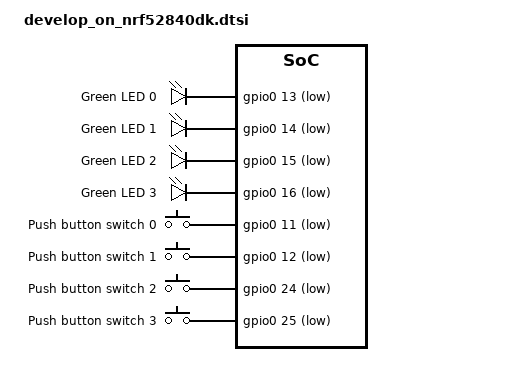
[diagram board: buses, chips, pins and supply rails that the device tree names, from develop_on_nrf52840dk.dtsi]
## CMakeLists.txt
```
#
# Copyright (c) 2020 Nordic Semiconductor ASA
#
# SPDX-License-Identifier: LicenseRef-Nordic-5-Clause
#

cmake_minimum_required(VERSION 3.20.0)

set(BOARD_ROOT ${CMAKE_CURRENT_SOURCE_DIR})

find_package(Zephyr REQUIRED HINTS $ENV{ZEPHYR_BASE})

project("Zigbee light bulb with Scenes")

# NORDIC SDK APP START
target_sources(app PRIVATE
  src/main.c
)

target_include_directories(app PRIVATE include)
# NORDIC SDK APP END
```

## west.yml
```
manifest:
  version: "0.12"
  remotes:
      # nRF Connect SDK base URL.
    - name: ncs
      url-base: https://github.com/nrfconnect
  # The list of external projects for the nRF Connect SDK.
  #
  projects:
    - name: nrf
      remote: ncs
      repo-path: sdk-nrf
      revision: v2.2.0
      import:
        name-blocklist:
          - loramac-node
  self:
    path: application
```

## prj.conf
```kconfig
#
# Copyright (c) 2020 Nordic Semiconductor ASA
#
# SPDX-License-Identifier: LicenseRef-Nordic-5-Clause
#

CONFIG_LOG=y

CONFIG_UART_INTERRUPT_DRIVEN=y
CONFIG_SERIAL=y
CONFIG_GPIO=y
CONFIG_PWM=y
CONFIG_ADC=y

# Make sure printk is not printing to the UART console
CONFIG_CONSOLE=y
CONFIG_UART_CONSOLE=y

CONFIG_HEAP_MEM_POOL_SIZE=2048
CONFIG_MAIN_THREAD_PRIORITY=7

CONFIG_ZIGBEE=y
CONFIG_ZIGBEE_APP_UTILS=y
CONFIG_ZIGBEE_ROLE_ROUTER=y

# Enable DK LED and Buttons library
CONFIG_DK_LIBRARY=y

# This example requires more workqueue stack
CONFIG_SYSTEM_WORKQUEUE_STACK_SIZE=2048

# Enable nRF ECB driver
CONFIG_CRYPTO=y
CONFIG_CRYPTO_NRF_ECB=y
CONFIG_CRYPTO_INIT_PRIORITY=80

# Networking
CONFIG_NET_IPV6=n
CONFIG_NET_IP_ADDR_CHECK=n
CONFIG_NET_UDP=n

# Scene extension
CONFIG_ZIGBEE_SCENES=y

CONFIG_ZIGBEE_CHANNEL_SELECTION_MODE_MULTI=y
```

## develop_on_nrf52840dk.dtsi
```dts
&pinctrl {
	uart0_default: uart0_default {
		group1 {
			psels = <NRF_PSEL(UART_TX, 0, 6)>,
				<NRF_PSEL(UART_RTS, 0, 5)>;
		};
		group2 {
			psels = <NRF_PSEL(UART_RX, 0, 8)>,
				<NRF_PSEL(UART_CTS, 0, 7)>;
			bias-pull-up;
		};
	};
	uart0_sleep: uart0_sleep {
		group1 {
			psels = <NRF_PSEL(UART_TX, 0, 6)>,
				<NRF_PSEL(UART_RX, 0, 8)>,
				<NRF_PSEL(UART_RTS, 0, 5)>,
				<NRF_PSEL(UART_CTS, 0, 7)>;
			low-power-enable;
		};
	};
};
&pwm0 {
	status = "disabled";
};

/ {
	leds {
		led0: led_0 {
			gpios = <&gpio0 13 GPIO_ACTIVE_LOW>;
			label = "Green LED 0";
		};
		led1: led_1 {
			gpios = <&gpio0 14 GPIO_ACTIVE_LOW>;
			label = "Green LED 1";
		};
		led2: led_2 {
			gpios = <&gpio0 15 GPIO_ACTIVE_LOW>;
			label = "Green LED 2";
		};
		led3: led_3 {
			gpios = <&gpio0 16 GPIO_ACTIVE_LOW>;
			label = "Green LED 3";
		};
	};
	buttons {
		button0: button_0 {
			gpios = <&gpio0 11 (GPIO_PULL_UP | GPIO_ACTIVE_LOW)>;
			label = "Push button switch 0";
		};
		button1: button_1 {
			gpios = <&gpio0 12 (GPIO_PULL_UP | GPIO_ACTIVE_LOW)>;
			label = "Push button switch 1";
		};
		button2: button_2 {
			gpios = <&gpio0 24 (GPIO_PULL_UP | GPIO_ACTIVE_LOW)>;
			label = "Push button switch 2";
		};
		button3: button_3 {
			gpios = <&gpio0 25 (GPIO_PULL_UP | GPIO_ACTIVE_LOW)>;
			label = "Push button switch 3";
		};
	};
};
```

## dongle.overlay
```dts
&spi1 {
	status = "disabled";
};
/ {
    leds {
        btn_out: btn_out {
			gpios = <&gpio1 13 GPIO_ACTIVE_LOW>;
			label = "Override physical lamp button";
		};
    };
    zephyr,user {
        io-channels = <&adc 0>; /* led monitor, about 0V when off, up to 2.54V, about 1.2V when on */
        //btn-output = <&gpio1 13 (GPIO_ACTIVE_LOW)>; /*  */
    };
};

&adc {
	#address-cells = <1>;
	#size-cells = <0>;

	channel@0 {
		reg = <0>;
		zephyr,gain = "ADC_GAIN_1_6";
		zephyr,reference = "ADC_REF_INTERNAL";
		zephyr,vref-mv = <600>;
		zephyr,acquisition-time = <ADC_ACQ_TIME_DEFAULT>;
		zephyr,input-positive = <NRF_SAADC_AIN5>; /* P0.29 */
		zephyr,resolution = <12>;
	};
};

// #include "develop_on_nrf52840dk.dtsi"
```

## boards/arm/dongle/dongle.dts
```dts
/*
 * Copyright (c) 2018 Nordic Semiconductor ASA
 * Copyright (c) 2017 Linaro Limited
 *
 * SPDX-License-Identifier: Apache-2.0
 */

/dts-v1/;
#include <nordic/nrf52840_qiaa.dtsi>
#include "dongle-pinctrl.dtsi"

/ {
	model = "Nordic nRF52840 Dongle NRF52840 (customized)";
	compatible = "nordic,dongle";

	chosen {
		zephyr,console = &uart0;
		zephyr,shell-uart = &uart0;
		zephyr,uart-mcumgr = &uart0;
		zephyr,bt-mon-uart = &uart0;
		zephyr,bt-c2h-uart = &uart0;
		zephyr,sram = &sram0;
		zephyr,flash = &flash0;
		zephyr,code-partition = &slot0_partition;
		zephyr,ieee802154 = &ieee802154;
	};

	leds {
		compatible = "gpio-leds";
		led0_green: led_0 {
			gpios = <&gpio0 6 GPIO_ACTIVE_LOW>;
			label = "Green LED 0";
		};
		led1_red: led_1 {
			gpios = <&gpio0 8 GPIO_ACTIVE_LOW>;
			label = "Red LED 1";
		};
		led1_green: led_2 {
			gpios = <&gpio1 9 GPIO_ACTIVE_LOW>;
			label = "Green LED 1";
		};
		led1_blue: led_3 {
			gpios = <&gpio0 12 GPIO_ACTIVE_LOW>;
			label = "Blue LED 1";
		};
	};

	buttons {
		compatible = "gpio-keys";
		button0: button_0 {
			gpios = <&gpio1 6 (GPIO_PULL_UP | GPIO_ACTIVE_LOW)>;
			label = "Push button switch 0";
		};
	};

	pwmleds {
		compatible = "pwm-leds";
		red_pwm_led: pwm_led_0 {
			pwms = <&pwm0 0 PWM_MSEC(20) PWM_POLARITY_INVERTED>;
		};
		green_pwm_led: pwm_led_1 {
			pwms = <&pwm0 1 PWM_MSEC(20) PWM_POLARITY_INVERTED>;
		};
		blue_pwm_led: pwm_led_2 {
			pwms = <&pwm0 2 PWM_MSEC(20) PWM_POLARITY_INVERTED>;
		};
	};

	/* These aliases are provided for compatibility with samples */
	aliases {
		sw0 = &button0;
		led0 = &led0_green;
		led1 = &led1_red;
		led2 = &led1_green;
		led3 = &led1_blue;
		led0-green = &led0_green;
		led1-red   = &led1_red;
		led1-green = &led1_green;
		led1-blue  = &led1_blue;
		pwm-led0 = &red_pwm_led;
		pwm-led1 = &green_pwm_led;
		pwm-led2 = &blue_pwm_led;
		red-pwm-led = &red_pwm_led;
		green-pwm-led = &green_pwm_led;
		blue-pwm-led = &blue_pwm_led;
		mcuboot-button0 = &button0;
		mcuboot-led0 = &led0_green;
		watchdog0 = &wdt0;
	};
};

&adc {
	status = "okay";
};

&gpiote {
	status = "okay";
};

&gpio0 {
	status = "okay";
};

&gpio1 {
	status = "okay";
};

&uart0 {
	compatible = "nordic,nrf-uarte";
	status = "okay";
	current-speed = <115200>;
	pinctrl-0 = <&uart0_default>;
	pinctrl-1 = <&uart0_sleep>;
	pinctrl-names = "default", "sleep";
};

&i2c0 {
	compatible = "nordic,nrf-twi";
	status = "okay";
	pinctrl-0 = <&i2c0_default>;
	pinctrl-1 = <&i2c0_sleep>;
	pinctrl-names = "default", "sleep";
};

&i2c1 {
	compatible = "nordic,nrf-twi";
	/* Cannot be used together with spi1. */
	/* status = "okay"; */
	pinctrl-0 = <&i2c1_default>;
	pinctrl-1 = <&i2c1_sleep>;
	pinctrl-names = "default", "sleep";
};

&pwm0 {
	status = "okay";
	pinctrl-0 = <&pwm0_default>;
	pinctrl-1 = <&pwm0_sleep>;
	pinctrl-names = "default", "sleep";
};

/*
 * By default, not adding all available SPI instances (spi2, spi3) due to
 * limited GPIOs available on dongle board.
 */
&spi0 {
	compatible = "nordic,nrf-spi";
	/* Cannot be used together with i2c0. */
	/* status = "okay"; */
	pinctrl-0 = <&spi0_default>;
	pinctrl-1 = <&spi0_sleep>;
	pinctrl-names = "default", "sleep";
};

&spi1 {
	compatible = "nordic,nrf-spi";
	status = "okay";
	pinctrl-0 = <&spi1_default>;
	pinctrl-1 = <&spi1_sleep>;
	pinctrl-names = "default", "sleep";
};

&ieee802154 {
	status = "okay";
};

/* Include flash partition table.
 * Two partition tables are available:
 * fstab-stock		-compatible with Nordic nRF5 bootloader, default
 * fstab-debugger	-to use an external debugger, w/o the nRF5 bootloader
 */
 &flash0 {

	partitions {
		compatible = "fixed-partitions";
		#address-cells = <1>;
		#size-cells = <1>;

		boot_partition: partition@0 {
			label = "mcuboot";
			reg = <0x00000000 0x0000C000>;
		};
		slot0_partition: partition@c000 {
			label = "image-0";
			reg = <0x0000C000 0x00067000>;
		};
		slot1_partition: partition@73000 {
			label = "image-1";
			reg = <0x00073000 0x00067000>;
		};
		scratch_partition: partition@da000 {
			label = "image-scratch";
			reg = <0x000da000 0x0001e000>;
		};

		/*
		 * The flash starting at 0x000f8000 and ending at
		 * 0x000fffff is reserved for use by the application.
		 */

		/*
		 * Storage partition will be used by FCB/LittleFS/NVS
		 * if enabled.
		 */
		storage_partition: partition@f8000 {
			label = "storage";
			reg = <0x000f8000 0x00008000>;
		};
	};
};

zephyr_udc0: &usbd {
	compatible = "nordic,nrf-usbd";
	status = "okay";
};
```

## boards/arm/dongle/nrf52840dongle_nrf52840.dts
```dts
/*
 * Copyright (c) 2018 Nordic Semiconductor ASA
 * Copyright (c) 2017 Linaro Limited
 *
 * SPDX-License-Identifier: Apache-2.0
 */

/dts-v1/;
#include <nordic/nrf52840_qiaa.dtsi>
#include "nrf52840dongle_nrf52840-pinctrl.dtsi"

/ {
	model = "Nordic nRF52840 Dongle NRF52840";
	compatible = "nordic,nrf52840-dongle-nrf52840";

	chosen {
		zephyr,console = &uart0;
		zephyr,shell-uart = &uart0;
		zephyr,uart-mcumgr = &uart0;
		zephyr,bt-mon-uart = &uart0;
		zephyr,bt-c2h-uart = &uart0;
		zephyr,sram = &sram0;
		zephyr,flash = &flash0;
		zephyr,code-partition = &slot0_partition;
		zephyr,ieee802154 = &ieee802154;
	};

	leds {
		compatible = "gpio-leds";
		led0_green: led_0 {
			gpios = <&gpio0 6 GPIO_ACTIVE_LOW>;
			label = "Green LED 0";
		};
		led1_red: led_1 {
			gpios = <&gpio0 8 GPIO_ACTIVE_LOW>;
			label = "Red LED 1";
		};
		led1_green: led_2 {
			gpios = <&gpio1 9 GPIO_ACTIVE_LOW>;
			label = "Green LED 1";
		};
		led1_blue: led_3 {
			gpios = <&gpio0 12 GPIO_ACTIVE_LOW>;
			label = "Blue LED 1";
		};
	};

	buttons {
		compatible = "gpio-keys";
		button0: button_0 {
			gpios = <&gpio1 6 (GPIO_PULL_UP | GPIO_ACTIVE_LOW)>;
			label = "Push button switch 0";
		};
	};

	/* These aliases are provided for compatibility with samples */
	aliases {
		sw0 = &button0;
		led0 = &led0_green;
		led1 = &led1_red;
		led2 = &led1_green;
		led3 = &led1_blue;
		led0-green = &led0_green;
		led1-red   = &led1_red;
		led1-green = &led1_green;
		led1-blue  = &led1_blue;
		pwm-led0 = &red_pwm_led;
		pwm-led1 = &green_pwm_led;
		pwm-led2 = &blue_pwm_led;
		red-pwm-led = &red_pwm_led;
		green-pwm-led = &green_pwm_led;
		blue-pwm-led = &blue_pwm_led;
		mcuboot-button0 = &button0;
		mcuboot-led0 = &led0_green;
		watchdog0 = &wdt0;
	};
};

&adc {
	status = "okay";
};

&gpiote {
	status = "okay";
};

&gpio0 {
	status = "okay";
};

&gpio1 {
	status = "okay";
};

&uart0 {
	compatible = "nordic,nrf-uarte";
	status = "okay";
	current-speed = <115200>;
	pinctrl-0 = <&uart0_default>;
	pinctrl-1 = <&uart0_sleep>;
	pinctrl-names = "default", "sleep";
};

&ieee802154 {
	status = "okay";
};

/* Include flash partition table.
 * Two partition tables are available:
 * fstab-stock		-compatible with Nordic nRF5 bootloader, default
 * fstab-debugger	-to use an external debugger, w/o the nRF5 bootloader
 */
 &flash0 {

	partitions {
		compatible = "fixed-partitions";
		#address-cells = <1>;
		#size-cells = <1>;

		boot_partition: partition@0 {
			label = "mcuboot";
			reg = <0x00000000 0x0000C000>;
		};
		slot0_partition: partition@c000 {
			label = "image-0";
			reg = <0x0000C000 0x00067000>;
		};
		slot1_partition: partition@73000 {
			label = "image-1";
			reg = <0x00073000 0x00067000>;
		};
		scratch_partition: partition@da000 {
			label = "image-scratch";
			reg = <0x000da000 0x0001e000>;
		};

		/*
		 * The flash starting at 0x000f8000 and ending at
		 * 0x000fffff is reserved for use by the application.
		 */

		/*
		 * Storage partition will be used by FCB/LittleFS/NVS
		 * if enabled.
		 */
		storage_partition: partition@f8000 {
			label = "storage";
			reg = <0x000f8000 0x00008000>;
		};
	};
};

zephyr_udc0: &usbd {
	compatible = "nordic,nrf-usbd";
	status = "okay";
};
```

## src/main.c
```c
/*
 * Copyright (c) 2020 Nordic Semiconductor ASA
 *
 * SPDX-License-Identifier: LicenseRef-Nordic-5-Clause
 */

/** @file
 *
 * @brief Simple Zigbee light bulb implementation.
 */

#include <zephyr/types.h>
#include <zephyr/kernel.h>
#include <zephyr/device.h>
#include <soc.h>
#include <zephyr/logging/log.h>
#include <dk_buttons_and_leds.h>
#include <zephyr/settings/settings.h>

#include <zboss_api.h>
#include <zboss_api_addons.h>
#include <zb_mem_config_med.h>
#include <zigbee/zigbee_app_utils.h>
#include <zigbee/zigbee_error_handler.h>
#include <zigbee/zigbee_zcl_scenes.h>
#include <zb_nrf_platform.h>
#include "zb_dimmable_light.h"

#include "zephyr/drivers/adc.h"
#include "zephyr/drivers/gpio.h"
#include <zephyr/drivers/sensor.h>

LOG_MODULE_REGISTER(app, LOG_LEVEL_INF);

static const struct adc_dt_spec led_monitor_dt = ADC_DT_SPEC_GET(DT_PATH(zephyr_user));
static const struct gpio_dt_spec btn_output_dt = GPIO_DT_SPEC_GET(DT_NODELABEL(btn_out), gpios);
static const struct device *temp_dev = DEVICE_DT_GET(DT_NODELABEL(temp));

uint32_t adc_val;
struct adc_sequence adc_seq = {
	.buffer = &adc_val,
	.buffer_size = sizeof(adc_val),
};

bool check_lamp_status(bool *status) {
	int err;

	for (size_t i = 0; i < 10; ++i) {
		err = adc_read(led_monitor_dt.dev, &adc_seq);

		if (err) {
			LOG_ERR("adc_read failed, err: %d", err);
			k_sleep(K_MSEC(100));
			continue;
		}
		adc_raw_to_millivolts_dt(&led_monitor_dt, &adc_val);
		LOG_INF("read out value: %d mV", adc_val);
		if (adc_val > 10000) {
			continue;
		}
		*status = adc_val < 200;
		return true;
	}
	return false;
}

void trigger_lamp(void) {
	gpio_pin_set_dt(&btn_output_dt, 1);
	k_sleep(K_MSEC(300));
	gpio_pin_set_dt(&btn_output_dt, 0);
}

#define RUN_STATUS_LED                  DK_LED1
#define RUN_LED_BLINK_INTERVAL          1000

/* Device endpoint, used to receive light controlling commands. */
#define DIMMABLE_LIGHT_ENDPOINT         10

/* Version of the application software (1 byte). */
#define BULB_INIT_BASIC_APP_VERSION     01

/* Version of the implementation of the Zigbee stack (1 byte). */
#define BULB_INIT_BASIC_STACK_VERSION   10

/* Version of the hardware of the device (1 byte). */
#define BULB_INIT_BASIC_HW_VERSION      11

/* Manufacturer name (32 bytes). */
#define BULB_INIT_BASIC_MANUF_NAME      "Nordic"

/* Model number assigned by manufacturer (32-bytes long string). */
#define BULB_INIT_BASIC_MODEL_ID        "RIGGAD"

/* First 8 bytes specify the date of manufacturer of the device
 * in ISO 8601 format (YYYYMMDD). The rest (8 bytes) are manufacturer specific.
 */
#define BULB_INIT_BASIC_DATE_CODE       "20230305"

/* Type of power sources available for the device.
 * For possible values see section 3.2.2.2.8 of ZCL specification.
 */
#define BULB_INIT_BASIC_POWER_SOURCE    ZB_ZCL_BASIC_POWER_SOURCE_DC_SOURCE

/* Describes the physical location of the device (16 bytes).
 * May be modified during commissioning process.
 */
#define BULB_INIT_BASIC_LOCATION_DESC   "Office desk"

/* Describes the type of physical environment.
 * For possible values see section 3.2.2.2.10 of ZCL specification.
 */
#define BULB_INIT_BASIC_PH_ENV          ZB_ZCL_BASIC_ENV_UNSPECIFIED

/* LED indicating that light switch successfully joind Zigbee network. */
#define ZIGBEE_NETWORK_STATE_LED        DK_LED3

/* Button used to enter the Bulb into the Identify mode. */
#define IDENTIFY_MODE_BUTTON            DK_BTN1_MSK

#ifndef ZB_ROUTER_ROLE
#error Define ZB_ROUTER_ROLE to compile router source code.
#endif

/* Button to start Factory Reset */
#define FACTORY_RESET_BUTTON IDENTIFY_MODE_BUTTON

/* Zigbee Cluster Library 4.4.2.2.1.1: MeasuredValue = 100x temperature in degrees Celsius */
#define ZCL_TEMPERATURE_MEASUREMENT_MEASURED_VALUE_MULTIPLIER 100

/* Main application customizable context.
 * Stores all settings and static values.
 */
typedef struct {
	zb_zcl_basic_attrs_ext_t basic_attr;
	zb_zcl_identify_attrs_t identify_attr;
	zb_zcl_scenes_attrs_t scenes_attr;
	zb_zcl_groups_attrs_t groups_attr;
	zb_zcl_on_off_attrs_t on_off_attr;
	zb_zcl_level_control_attrs_t level_control_attr;
	zb_zcl_temp_measurement_attrs_t temp_attrs;
} bulb_device_ctx_t;

/* Zigbee device application context storage. */
static bulb_device_ctx_t dev_ctx;

ZB_ZCL_DECLARE_IDENTIFY_ATTRIB_LIST(
	identify_attr_list,
	&dev_ctx.identify_attr.identify_time);

ZB_ZCL_DECLARE_GROUPS_ATTRIB_LIST(
	groups_attr_list,
	&dev_ctx.groups_attr.name_support);

ZB_ZCL_DECLARE_SCENES_ATTRIB_LIST(
	scenes_attr_list,
	&dev_ctx.scenes_attr.scene_count,
	&dev_ctx.scenes_attr.current_scene,
	&dev_ctx.scenes_attr.current_group,
	&dev_ctx.scenes_attr.scene_valid,
	&dev_ctx.scenes_attr.name_support);

ZB_ZCL_DECLARE_BASIC_ATTRIB_LIST_EXT(
	basic_attr_list,
	&dev_ctx.basic_attr.zcl_version,
	&dev_ctx.basic_attr.app_version,
	&dev_ctx.basic_attr.stack_version,
	&dev_ctx.basic_attr.hw_version,
	dev_ctx.basic_attr.mf_name,
	dev_ctx.basic_attr.model_id,
	dev_ctx.basic_attr.date_code,
	&dev_ctx.basic_attr.power_source,
	dev_ctx.basic_attr.location_id,
	&dev_ctx.basic_attr.ph_env,
	dev_ctx.basic_attr.sw_ver);

/* On/Off cluster attributes additions data */
ZB_ZCL_DECLARE_ON_OFF_ATTRIB_LIST(
	on_off_attr_list,
	&dev_ctx.on_off_attr.on_off);

ZB_ZCL_DECLARE_LEVEL_CONTROL_ATTRIB_LIST(
	level_control_attr_list,
	&dev_ctx.level_control_attr.current_level,
	&dev_ctx.level_control_attr.remaining_time);

ZB_ZCL_DECLARE_TEMP_MEASUREMENT_ATTRIB_LIST(
	temperature_measurement_attr_list,
	&dev_ctx.temp_attrs.measure_value,
	&dev_ctx.temp_attrs.min_measure_value,
	&dev_ctx.temp_attrs.max_measure_value,
	&dev_ctx.temp_attrs.tolerance);

ZB_DECLARE_DIMMABLE_LIGHT_CLUSTER_LIST(
	dimmable_light_clusters,
	basic_attr_list,
	identify_attr_list,
	temperature_measurement_attr_list,
	groups_attr_list,
	scenes_attr_list,
	on_off_attr_list,
	level_control_attr_list);


ZB_DECLARE_DIMMABLE_LIGHT_EP(
	dimmable_light_ep,
	DIMMABLE_LIGHT_ENDPOINT,
	dimmable_light_clusters);

ZBOSS_DECLARE_DEVICE_CTX_1_EP(
	dimmable_light_ctx,
	dimmable_light_ep);

/**@brief Starts identifying the device.
 *
 * @param  bufid  Unused parameter, required by ZBOSS scheduler API.
 */
static void start_identifying(zb_bufid_t bufid)
{
	ZVUNUSED(bufid);

	if (ZB_JOINED()) {
		/* Check if endpoint is in identifying mode,
		 * if not, put desired endpoint in identifying mode.
		 */
		if (dev_ctx.identify_attr.identify_time ==
		    ZB_ZCL_IDENTIFY_IDENTIFY_TIME_DEFAULT_VALUE) {

			zb_ret_t zb_err_code = zb_bdb_finding_binding_target(
				DIMMABLE_LIGHT_ENDPOINT);

			if (zb_err_code == RET_OK) {
				LOG_INF("Enter identify mode");
			} else if (zb_err_code == RET_INVALID_STATE) {
				LOG_WRN("RET_INVALID_STATE - Cannot enter identify mode");
			} else {
				ZB_ERROR_CHECK(zb_err_code);
			}
		} else {
			LOG_INF("Cancel identify mode");
			zb_bdb_finding_binding_target_cancel();
		}
	} else {
		LOG_WRN("Device not in a network - cannot enter identify mode");
	}
}

/**@brief Callback for button events.
 *
 * @param[in]   button_state  Bitmask containing the state of the buttons.
 * @param[in]   has_changed   Bitmask containing buttons that have changed their state.
 */
static void button_changed(uint32_t button_state, uint32_t has_changed)
{
	if (IDENTIFY_MODE_BUTTON & has_changed) {
		if (IDENTIFY_MODE_BUTTON & button_state) {
			/* Button changed its state to pressed */
		} else {
			/* Button changed its state to released */
			if (was_factory_reset_done()) {
				/* The long press was for Factory Reset */
				LOG_DBG("After Factory Reset - ignore button release");
			} else   {
				/* Button released before Factory Reset */

				/* Start identification mode */
				ZB_SCHEDULE_APP_CALLBACK(start_identifying, 0);
			}
		}
	}

	check_factory_reset_button(button_state, has_changed);
}

/**@brief Function for initializing additional PWM leds. */
static void pwm_led_init(void)
{
}

/**@brief Function for initializing LEDs and Buttons. */
static void configure_gpio(void)
{
	int err;

	err = dk_buttons_init(button_changed);
	if (err) {
		LOG_ERR("Cannot init buttons (err: %d)", err);
	}

	err = dk_leds_init();
	if (err) {
		LOG_ERR("Cannot init LEDs (err: %d)", err);
	}

	pwm_led_init();
}

/**@brief Sets brightness of bulb luminous executive element
 *
 * @param[in] brightness_level Brightness level, allowed values 0 ... 255,
 *                             0 - turn off, 255 - full brightness.
 */
static void light_bulb_set_brightness(zb_uint8_t brightness_level)
{
	/* do nothing */
}

/**@brief Function for setting the light bulb brightness.
 *
 * @param[in] new_level   Light bulb brightness value.
 */
static void level_control_set_value(zb_uint16_t new_level)
{
	LOG_INF("Set level value: %i", new_level);

	ZB_ZCL_SET_ATTRIBUTE(
		DIMMABLE_LIGHT_ENDPOINT,
		ZB_ZCL_CLUSTER_ID_LEVEL_CONTROL,
		ZB_ZCL_CLUSTER_SERVER_ROLE,
		ZB_ZCL_ATTR_LEVEL_CONTROL_CURRENT_LEVEL_ID,
		(zb_uint8_t *)&new_level,
		ZB_FALSE);

	light_bulb_set_brightness(new_level);
}

/**@brief Function for turning ON/OFF the light bulb.
 *
 * @param[in]   on   Boolean light bulb state.
 */
static void on_off_set_value(zb_bool_t on)
{
	LOG_INF("Set ON/OFF value: %i", on);

	ZB_ZCL_SET_ATTRIBUTE(
		DIMMABLE_LIGHT_ENDPOINT,
		ZB_ZCL_CLUSTER_ID_ON_OFF,
		ZB_ZCL_CLUSTER_SERVER_ROLE,
		ZB_ZCL_ATTR_ON_OFF_ON_OFF_ID,
		(zb_uint8_t *)&on,
		ZB_FALSE);

	bool status = true;

	if (check_lamp_status(&status) && (status != on)) {
		trigger_lamp();
	}
}

/**@brief Function to toggle the identify LED - BULB_LED is used for this.
 *
 * @param  bufid  Unused parameter, required by ZBOSS scheduler API.
 */
static void toggle_identify_led(zb_bufid_t bufid)
{
	static int blink_status;

	light_bulb_set_brightness(((++blink_status) % 2) ? (255U) : (0U));
	ZB_SCHEDULE_APP_ALARM(toggle_identify_led, bufid, ZB_MILLISECONDS_TO_BEACON_INTERVAL(100));
}

/**@brief Function to handle identify notification events on the first endpoint.
 *
 * @param  bufid  Unused parameter, required by ZBOSS scheduler API.
 */
static void identify_cb(zb_bufid_t bufid)
{
	zb_ret_t zb_err_code;

	if (bufid) {
		/* Schedule a self-scheduling function that will toggle the LED. */
		ZB_SCHEDULE_APP_CALLBACK(toggle_identify_led, bufid);
	} else {
		/* Cancel the toggling function alarm and restore current Zigbee LED state. */
		zb_err_code = ZB_SCHEDULE_APP_ALARM_CANCEL(toggle_identify_led, ZB_ALARM_ANY_PARAM);
		ZVUNUSED(zb_err_code);

		if (dev_ctx.on_off_attr.on_off) {
			light_bulb_set_brightness(dev_ctx.level_control_attr.current_level);
		} else {
			light_bulb_set_brightness(0U);
		}
	}
}

/**@brief Function for initializing all clusters attributes.
 */
static void bulb_clusters_attr_init(void)
{
	/* Basic cluster attributes data */
	dev_ctx.basic_attr.zcl_version = ZB_ZCL_VERSION;
	dev_ctx.basic_attr.app_version = BULB_INIT_BASIC_APP_VERSION;
	dev_ctx.basic_attr.stack_version = BULB_INIT_BASIC_STACK_VERSION;
	dev_ctx.basic_attr.hw_version = BULB_INIT_BASIC_HW_VERSION;

	/* Use ZB_ZCL_SET_STRING_VAL to set strings, because the first byte
	 * should contain string length without trailing zero.
	 *
	 * For example "test" string will be encoded as:
	 *   [(0x4), 't', 'e', 's', 't']
	 */
	ZB_ZCL_SET_STRING_VAL(
		dev_ctx.basic_attr.mf_name,
		BULB_INIT_BASIC_MANUF_NAME,
		ZB_ZCL_STRING_CONST_SIZE(BULB_INIT_BASIC_MANUF_NAME));

	ZB_ZCL_SET_STRING_VAL(
		dev_ctx.basic_attr.model_id,
		BULB_INIT_BASIC_MODEL_ID,
		ZB_ZCL_STRING_CONST_SIZE(BULB_INIT_BASIC_MODEL_ID));

	ZB_ZCL_SET_STRING_VAL(
		dev_ctx.basic_attr.date_code,
		BULB_INIT_BASIC_DATE_CODE,
		ZB_ZCL_STRING_CONST_SIZE(BULB_INIT_BASIC_DATE_CODE));

	dev_ctx.basic_attr.power_source = BULB_INIT_BASIC_POWER_SOURCE;

	ZB_ZCL_SET_STRING_VAL(
		dev_ctx.basic_attr.location_id,
		BULB_INIT_BASIC_LOCATION_DESC,
		ZB_ZCL_STRING_CONST_SIZE(BULB_INIT_BASIC_LOCATION_DESC));

	dev_ctx.basic_attr.ph_env = BULB_INIT_BASIC_PH_ENV;

	/* Identify cluster attributes data. */
	dev_ctx.identify_attr.identify_time =
		ZB_ZCL_IDENTIFY_IDENTIFY_TIME_DEFAULT_VALUE;

	/* On/Off cluster attributes data. */
	dev_ctx.on_off_attr.on_off = (zb_bool_t)ZB_ZCL_ON_OFF_IS_ON;

	dev_ctx.level_control_attr.current_level =
		ZB_ZCL_LEVEL_CONTROL_LEVEL_MAX_VALUE;
	dev_ctx.level_control_attr.remaining_time =
		ZB_ZCL_LEVEL_CONTROL_REMAINING_TIME_DEFAULT_VALUE;

	dev_ctx.temp_attrs.measure_value = ZB_ZCL_ATTR_TEMP_MEASUREMENT_VALUE_UNKNOWN;
	dev_ctx.temp_attrs.min_measure_value = -40 * ZCL_TEMPERATURE_MEASUREMENT_MEASURED_VALUE_MULTIPLIER;
	dev_ctx.temp_attrs.max_measure_value = 85 * ZCL_TEMPERATURE_MEASUREMENT_MEASURED_VALUE_MULTIPLIER;
	dev_ctx.temp_attrs.tolerance = 5 * ZCL_TEMPERATURE_MEASUREMENT_MEASURED_VALUE_MULTIPLIER;

	ZB_ZCL_SET_ATTRIBUTE(
		DIMMABLE_LIGHT_ENDPOINT,
		ZB_ZCL_CLUSTER_ID_ON_OFF,
		ZB_ZCL_CLUSTER_SERVER_ROLE,
		ZB_ZCL_ATTR_ON_OFF_ON_OFF_ID,
		(zb_uint8_t *)&dev_ctx.on_off_attr.on_off,
		ZB_FALSE);

	ZB_ZCL_SET_ATTRIBUTE(
		DIMMABLE_LIGHT_ENDPOINT,
		ZB_ZCL_CLUSTER_ID_LEVEL_CONTROL,
		ZB_ZCL_CLUSTER_SERVER_ROLE,
		ZB_ZCL_ATTR_LEVEL_CONTROL_CURRENT_LEVEL_ID,
		(zb_uint8_t *)&dev_ctx.level_control_attr.current_level,
		ZB_FALSE);
}

/**@brief Callback function for handling ZCL commands.
 *
 * @param[in]   bufid   Reference to Zigbee stack buffer
 *                      used to pass received data.
 */
static void zcl_device_cb(zb_bufid_t bufid)
{
	zb_uint8_t cluster_id;
	zb_uint8_t attr_id;
	zb_zcl_device_callback_param_t  *device_cb_param =
		ZB_BUF_GET_PARAM(bufid, zb_zcl_device_callback_param_t);

	LOG_INF("%s id %hd", __func__, device_cb_param->device_cb_id);

	/* Set default response value. */
	device_cb_param->status = RET_OK;

	switch (device_cb_param->device_cb_id) {
	case ZB_ZCL_LEVEL_CONTROL_SET_VALUE_CB_ID:
		LOG_INF("Level control setting to %d",
			device_cb_param->cb_param.level_control_set_value_param
			.new_value);
		level_control_set_value(
			device_cb_param->cb_param.level_control_set_value_param
			.new_value);
		break;

	case ZB_ZCL_SET_ATTR_VALUE_CB_ID:
		cluster_id = device_cb_param->cb_param.
			     set_attr_value_param.cluster_id;
		attr_id = device_cb_param->cb_param.
			  set_attr_value_param.attr_id;

		if (cluster_id == ZB_ZCL_CLUSTER_ID_ON_OFF) {
			uint8_t value =
				device_cb_param->cb_param.set_attr_value_param
				.values.data8;

			LOG_INF("on/off attribute setting to %hd", value);
			if (attr_id == ZB_ZCL_ATTR_ON_OFF_ON_OFF_ID) {
				on_off_set_value((zb_bool_t)value);
			}
		} else if (cluster_id == ZB_ZCL_CLUSTER_ID_LEVEL_CONTROL) {
			uint16_t value = device_cb_param->cb_param.
					 set_attr_value_param.values.data16;

			LOG_INF("level control attribute setting to %hd",
				value);
			if (attr_id ==
			    ZB_ZCL_ATTR_LEVEL_CONTROL_CURRENT_LEVEL_ID) {
				level_control_set_value(value);
			}
		} else {
			/* Other clusters can be processed here */
			LOG_INF("Unhandled cluster attribute id: %d",
				cluster_id);
			device_cb_param->status = RET_NOT_IMPLEMENTED;
		}
		break;

	default:
		if (zcl_scenes_cb(bufid) == ZB_FALSE) {
			device_cb_param->status = RET_NOT_IMPLEMENTED;
		}
		break;
	}

	LOG_INF("%s status: %hd", __func__, device_cb_param->status);
}

/**@brief Zigbee stack event handler.
 *
 * @param[in]   bufid   Reference to the Zigbee stack buffer
 *                      used to pass signal.
 */
void zboss_signal_handler(zb_bufid_t bufid)
{
	/* Update network status LED. */
	zigbee_led_status_update(bufid, ZIGBEE_NETWORK_STATE_LED);

	/* No application-specific behavior is required.
	 * Call default signal handler.
	 */
	ZB_ERROR_CHECK(zigbee_default_signal_handler(bufid));

	/* All callbacks should either reuse or free passed buffers.
	 * If bufid == 0, the buffer is invalid (not passed).
	 */
	if (bufid) {
		zb_buf_free(bufid);
	}
}



void publish_temperature(float temp)
{
	int16_t temperature_attribute = (int16_t)
					(temp *
					 ZCL_TEMPERATURE_MEASUREMENT_MEASURED_VALUE_MULTIPLIER);
	zb_zcl_status_t status = zb_zcl_set_attr_val(DIMMABLE_LIGHT_ENDPOINT,
							     ZB_ZCL_CLUSTER_ID_TEMP_MEASUREMENT,
							     ZB_ZCL_CLUSTER_SERVER_ROLE,
							     ZB_ZCL_ATTR_TEMP_MEASUREMENT_VALUE_ID,
							     (zb_uint8_t *)&temperature_attribute,
							     ZB_FALSE);
	if (status) {
		LOG_ERR("Failed to set ZCL attribute: %d", status);
	}
}

float measure_temperature(void)
{
	struct sensor_value val;
	int err;

	err = sensor_sample_fetch(temp_dev);
	if (err) {
		LOG_ERR("sensor_sample_fetch failed: %d", err);
		return 0.0f;
	}

	err = sensor_channel_get(temp_dev, SENSOR_CHAN_DIE_TEMP, &val);
	if (err) {
		LOG_ERR("sensor_channel_get failed: %d", err);
		return 0.0f;
	}

	return sensor_value_to_double(&val);
}

void main(void)
{
	int err;

	LOG_INF("Starting ZBOSS Light Bulb example");

	/* Initialize */
	configure_gpio();
	err = settings_subsys_init();
	if (err) {
		LOG_ERR("settings initialization failed");
	}
	register_factory_reset_button(FACTORY_RESET_BUTTON);

	/* Register callback for handling ZCL commands. */
	ZB_ZCL_REGISTER_DEVICE_CB(zcl_device_cb);

	/* Register dimmer switch device context (endpoints). */
	ZB_AF_REGISTER_DEVICE_CTX(&dimmable_light_ctx);

	bulb_clusters_attr_init();
	level_control_set_value(dev_ctx.level_control_attr.current_level);

	/* Register handler to identify notifications. */
	ZB_AF_SET_IDENTIFY_NOTIFICATION_HANDLER(DIMMABLE_LIGHT_ENDPOINT, identify_cb);

	/* Initialize ZCL scene table */
	zcl_scenes_init();

	/* Settings should be loaded after zcl_scenes_init */
	err = settings_load();
	if (err) {
		LOG_ERR("settings loading failed");
	}

	/* Start Zigbee default thread */
	zigbee_enable();

	/* ADC fun */
	if (!device_is_ready(temp_dev)) {
		LOG_ERR("temp dev not ready!");
		return;
	}
	if (!device_is_ready(led_monitor_dt.dev)) {
		LOG_ERR("adc dev not ready!");
		return;
	}
	if (!device_is_ready(btn_output_dt.port)) {
		LOG_ERR("gpio dev not ready!");
		return;
	}
	gpio_pin_set_dt(&btn_output_dt, 0);

	err = adc_channel_setup_dt(&led_monitor_dt);
	if (err) {
		LOG_ERR("adc_channel_setup_dt failed, err: %d", err);
	}
	err = adc_sequence_init_dt(&led_monitor_dt, &adc_seq);
	if (err) {
		LOG_ERR("adc_sequence_init_dt failed, err: %d", err);
	}
	err = adc_read(led_monitor_dt.dev, &adc_seq);
	if (err) {
		LOG_ERR("adc_read failed, err: %d", err);
	}
	LOG_INF("read out raw value: %u", adc_val);
	if(!adc_raw_to_millivolts_dt(&led_monitor_dt, &adc_val)) {
		LOG_INF("read out value: %d mV", adc_val);
	} else {
		LOG_ERR("adc config wrong?");
	}

	/* ADC fun over */

	bool lamp_status = true;

	LOG_INF("ZBOSS Light Bulb example started");
	while (1) {
		check_lamp_status(&lamp_status);
		dev_ctx.on_off_attr.on_off = lamp_status;

		ZB_ZCL_SET_ATTRIBUTE(
			DIMMABLE_LIGHT_ENDPOINT,
			ZB_ZCL_CLUSTER_ID_ON_OFF,
			ZB_ZCL_CLUSTER_SERVER_ROLE,
			ZB_ZCL_ATTR_ON_OFF_ON_OFF_ID,
			(zb_uint8_t *)&dev_ctx.on_off_attr.on_off,
			ZB_FALSE);

		publish_temperature(measure_temperature());

		k_sleep(K_MSEC(RUN_LED_BLINK_INTERVAL));
	}
}
```

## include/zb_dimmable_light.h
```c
/*
 * Copyright (c) 2022 Nordic Semiconductor ASA
 *
 * SPDX-License-Identifier: LicenseRef-Nordic-5-Clause
 */

#ifndef ZB_DIMMABLE_LIGHT_H
#define ZB_DIMMABLE_LIGHT_H 1

/**
 *  @defgroup ZB_DEFINE_DEVICE_DIMMABLE_LIGHT Dimmable Light
 *  @{
 *  @details
 *      - @ref ZB_ZCL_BASIC \n
 *      - @ref ZB_ZCL_IDENTIFY \n
 *      - @ref ZB_ZCL_SCENES \n
 *      - @ref ZB_ZCL_GROUPS \n
 *      - @ref ZB_ZCL_ON_OFF \n
 *      - @ref ZB_ZCL_LEVEL_CONTROL
 */

/** Dimmable Light Device ID */
#define ZB_DIMMABLE_LIGHT_DEVICE_ID 0x0101

/** Dimmable light device version */
#define ZB_DEVICE_VER_DIMMABLE_LIGHT 1

/** @cond internals_doc */

/** Dimmable Light IN (server) clusters number */
#define ZB_DIMMABLE_LIGHT_IN_CLUSTER_NUM 7

/** Dimmable Light OUT (client) clusters number */
#define ZB_DIMMABLE_LIGHT_OUT_CLUSTER_NUM 0

/** Dimmable light total (IN+OUT) cluster number */
#define ZB_DIMMABLE_LIGHT_CLUSTER_NUM \
	(ZB_DIMMABLE_LIGHT_IN_CLUSTER_NUM + ZB_DIMMABLE_LIGHT_OUT_CLUSTER_NUM)

/** Number of attribute for reporting on Dimmable Light device */
#define ZB_DIMMABLE_LIGHT_REPORT_ATTR_COUNT \
	(ZB_ZCL_ON_OFF_REPORT_ATTR_COUNT + ZB_ZCL_LEVEL_CONTROL_REPORT_ATTR_COUNT)

/** Continuous value change attribute count */
#define ZB_DIMMABLE_LIGHT_CVC_ATTR_COUNT 1

/** @endcond */ /* internals_doc */

/**
 * @brief Declare cluster list for Dimmable Light device
 * @param cluster_list_name - cluster list variable name
 * @param basic_attr_list - attribute list for Basic cluster
 * @param identify_attr_list - attribute list for Identify cluster
 * @param groups_attr_list - attribute list for Groups cluster
 * @param scenes_attr_list - attribute list for Scenes cluster
 * @param on_off_attr_list - attribute list for On/Off cluster
 * @param level_control_attr_list - attribute list for Level Control cluster
 */
#define ZB_DECLARE_DIMMABLE_LIGHT_CLUSTER_LIST(					   \
	cluster_list_name,							   \
	basic_attr_list,							   \
	identify_attr_list,							   \
	temperature_measurement_attr_list,						\
	groups_attr_list,							   \
	scenes_attr_list,							   \
	on_off_attr_list,							   \
	level_control_attr_list)						   \
	zb_zcl_cluster_desc_t cluster_list_name[] =				   \
	{									   \
		ZB_ZCL_CLUSTER_DESC(						   \
			ZB_ZCL_CLUSTER_ID_IDENTIFY,				   \
			ZB_ZCL_ARRAY_SIZE(identify_attr_list, zb_zcl_attr_t),	   \
			(identify_attr_list),					   \
			ZB_ZCL_CLUSTER_SERVER_ROLE,				   \
			ZB_ZCL_MANUF_CODE_INVALID				   \
		),								   \
		ZB_ZCL_CLUSTER_DESC(								\
			ZB_ZCL_CLUSTER_ID_TEMP_MEASUREMENT,					\
			ZB_ZCL_ARRAY_SIZE(temperature_measurement_attr_list, zb_zcl_attr_t),	\
			(temperature_measurement_attr_list),					\
			ZB_ZCL_CLUSTER_SERVER_ROLE,						\
			ZB_ZCL_MANUF_CODE_INVALID						\
		),	\
		ZB_ZCL_CLUSTER_DESC(						   \
			ZB_ZCL_CLUSTER_ID_BASIC,				   \
			ZB_ZCL_ARRAY_SIZE(basic_attr_list, zb_zcl_attr_t),	   \
			(basic_attr_list),					   \
			ZB_ZCL_CLUSTER_SERVER_ROLE,				   \
			ZB_ZCL_MANUF_CODE_INVALID				   \
		),								   \
		ZB_ZCL_CLUSTER_DESC(						   \
			ZB_ZCL_CLUSTER_ID_SCENES,				   \
			ZB_ZCL_ARRAY_SIZE(scenes_attr_list, zb_zcl_attr_t),	   \
			(scenes_attr_list),					   \
			ZB_ZCL_CLUSTER_SERVER_ROLE,				   \
			ZB_ZCL_MANUF_CODE_INVALID				   \
		),								   \
		ZB_ZCL_CLUSTER_DESC(						   \
			ZB_ZCL_CLUSTER_ID_GROUPS,				   \
			ZB_ZCL_ARRAY_SIZE(groups_attr_list, zb_zcl_attr_t),	   \
			(groups_attr_list),					   \
			ZB_ZCL_CLUSTER_SERVER_ROLE,				   \
			ZB_ZCL_MANUF_CODE_INVALID				   \
		),								   \
		ZB_ZCL_CLUSTER_DESC(						   \
			ZB_ZCL_CLUSTER_ID_ON_OFF,				   \
			ZB_ZCL_ARRAY_SIZE(on_off_attr_list, zb_zcl_attr_t),	   \
			(on_off_attr_list),					   \
			ZB_ZCL_CLUSTER_SERVER_ROLE,				   \
			ZB_ZCL_MANUF_CODE_INVALID				   \
		),								   \
		ZB_ZCL_CLUSTER_DESC(						   \
			ZB_ZCL_CLUSTER_ID_LEVEL_CONTROL,			   \
			ZB_ZCL_ARRAY_SIZE(level_control_attr_list, zb_zcl_attr_t), \
			(level_control_attr_list),				   \
			ZB_ZCL_CLUSTER_SERVER_ROLE,				   \
			ZB_ZCL_MANUF_CODE_INVALID				   \
		)								   \
	}


/** @cond internals_doc */
/**
 * @brief Declare simple descriptor for Dimmable Light device
 * @param ep_name - endpoint variable name
 * @param ep_id - endpoint ID
 * @param in_clust_num - number of supported input clusters
 * @param out_clust_num - number of supported output clusters
 */
#define ZB_ZCL_DECLARE_HA_DIMMABLE_LIGHT_SIMPLE_DESC(ep_name, ep_id, in_clust_num, out_clust_num) \
	ZB_DECLARE_SIMPLE_DESC(in_clust_num, out_clust_num);					  \
	ZB_AF_SIMPLE_DESC_TYPE(in_clust_num, out_clust_num) simple_desc_##ep_name =		  \
	{											  \
		ep_id,										  \
		ZB_AF_HA_PROFILE_ID,								  \
		ZB_DIMMABLE_LIGHT_DEVICE_ID,							  \
		ZB_DEVICE_VER_DIMMABLE_LIGHT,							  \
		0,										  \
		in_clust_num,									  \
		out_clust_num,									  \
		{										  \
			ZB_ZCL_CLUSTER_ID_BASIC,						  \
			ZB_ZCL_CLUSTER_ID_IDENTIFY,						  \
			ZB_ZCL_CLUSTER_ID_TEMP_MEASUREMENT,				\
			ZB_ZCL_CLUSTER_ID_SCENES,						  \
			ZB_ZCL_CLUSTER_ID_GROUPS,						  \
			ZB_ZCL_CLUSTER_ID_ON_OFF,						  \
			ZB_ZCL_CLUSTER_ID_LEVEL_CONTROL,					  \
		}										  \
	}

/** @endcond */ /* internals_doc */

/**
 * @brief Declare endpoint for Dimmable Light device
 * @param ep_name - endpoint variable name
 * @param ep_id - endpoint ID
 * @param cluster_list - endpoint cluster list
 */
#define ZB_DECLARE_DIMMABLE_LIGHT_EP(ep_name, ep_id, cluster_list)		      \
	ZB_ZCL_DECLARE_HA_DIMMABLE_LIGHT_SIMPLE_DESC(ep_name, ep_id,		      \
		ZB_DIMMABLE_LIGHT_IN_CLUSTER_NUM, ZB_DIMMABLE_LIGHT_OUT_CLUSTER_NUM); \
	ZBOSS_DEVICE_DECLARE_REPORTING_CTX(reporting_info## ep_name,		      \
		ZB_DIMMABLE_LIGHT_REPORT_ATTR_COUNT);				      \
	ZBOSS_DEVICE_DECLARE_LEVEL_CONTROL_CTX(cvc_alarm_info## ep_name,	      \
		ZB_DIMMABLE_LIGHT_CVC_ATTR_COUNT);				      \
	ZB_AF_DECLARE_ENDPOINT_DESC(ep_name, ep_id, ZB_AF_HA_PROFILE_ID,	      \
		0,								      \
		NULL,								      \
		ZB_ZCL_ARRAY_SIZE(cluster_list, zb_zcl_cluster_desc_t), cluster_list, \
			(zb_af_simple_desc_1_1_t *)&simple_desc_## ep_name,	      \
			ZB_DIMMABLE_LIGHT_REPORT_ATTR_COUNT,			      \
			reporting_info## ep_name,				      \
			ZB_DIMMABLE_LIGHT_CVC_ATTR_COUNT,			      \
			cvc_alarm_info## ep_name)

/** @} */

#endif /* ZB_DIMMABLE_LIGHT_H */
```
